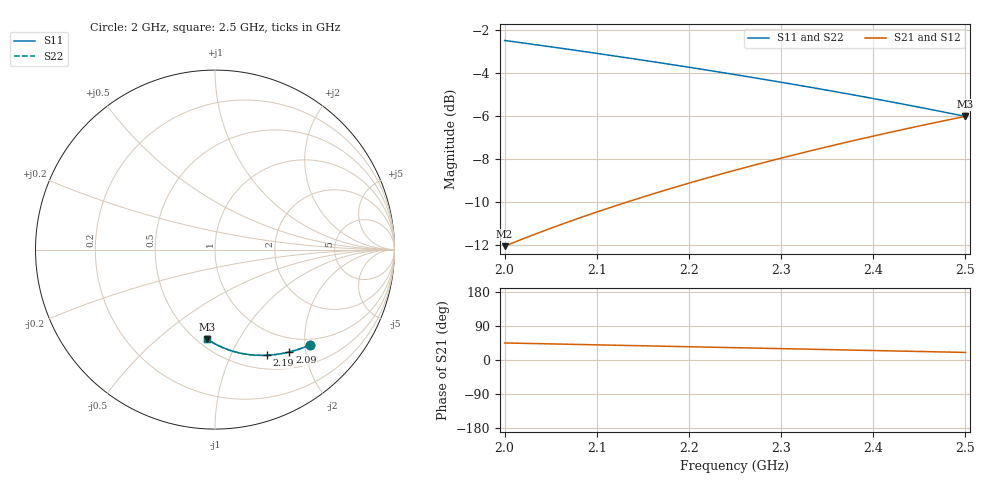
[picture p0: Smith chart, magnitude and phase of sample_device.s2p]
! Sample device S2P file for testing
! 2-port device with 51 frequency points
! Frequency range: 2.0 - 2.5 GHz
! Simulates a device with poor matching (needs optimization)
# GHz S MA R 50
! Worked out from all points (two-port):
!   51 points, 2 GHz to 2.5 GHz, reference 50 ohm
!   highest |S21| = -6.02 dB at 2.5 GHz (marker M1); lowest = -12.0 dB at 2 GHz (marker M2)
!   |S21| within 3 dB of the highest: 2.208 GHz to end of sweep
!   lowest |S11| = -6.0 dB at 2.5 GHz (marker M3), VSWR 3.00, Z = 28 - j37.3 ohm
!   |S11| at or under -10 dB: nowhere
!   |S22| runs from -6.0 to -2.5 dB; largest |S21 - S12| = 0
!   S11 on the Smith chart (normalised r, x): 2 GHz: 0.87, -2.11; 2.09 GHz: 0.75, -1.71; 2.19 GHz: 0.67, -1.38; 2.5 GHz: 0.56, -0.75
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2  0.75 -45.0  0.25 45.0  0.25 45.0  0.75 -45.0
2.02  0.74 -47.0  0.26 44.0  0.26 44.0  0.74 -47.0
2.04  0.73 -49.0  0.27 43.0  0.27 43.0  0.73 -49.0
2.06  0.72 -51.0  0.28 42.0  0.28 42.0  0.72 -51.0
2.09  0.705 -54.0  0.295 40.5  0.295 40.5  0.705 -54.0
2.11  0.695 -56.0  0.305 39.5  0.305 39.5  0.695 -56.0
2.13  0.685 -58.0  0.315 38.5  0.315 38.5  0.685 -58.0
2.15  0.675 -60.0  0.325 37.5  0.325 37.5  0.675 -60.0
2.17  0.665 -62.0  0.335 36.5  0.335 36.5  0.665 -62.0
2.19  0.655 -64.0  0.345 35.5  0.345 35.5  0.655 -64.0
2.22  0.64 -67.0  0.36 34.0  0.36 34.0  0.64 -67.0
2.25  0.625 -70.0  0.375 32.5  0.375 32.5  0.625 -70.0
2.27  0.615 -72.0  0.385 31.5  0.385 31.5  0.615 -72.0
2.29  0.605 -74.0  0.395 30.5  0.395 30.5  0.605 -74.0
2.31  0.595 -76.0  0.405 29.5  0.405 29.5  0.595 -76.0
2.34  0.58 -79.0  0.42 28.0  0.42 28.0  0.58 -79.0
2.36  0.57 -81.0  0.43 27.0  0.43 27.0  0.57 -81.0
2.38  0.56 -83.0  0.44 26.0  0.44 26.0  0.56 -83.0
2.42  0.54 -87.0  0.46 24.0  0.46 24.0  0.54 -87.0
2.46  0.52 -91.0  0.48 22.0  0.48 22.0  0.52 -91.0
2.48  0.51 -93.0  0.49 21.0  0.49 21.0  0.51 -93.0
2.5  0.5 -95.0  0.5 20.0  0.5 20.0  0.5 -95.0
